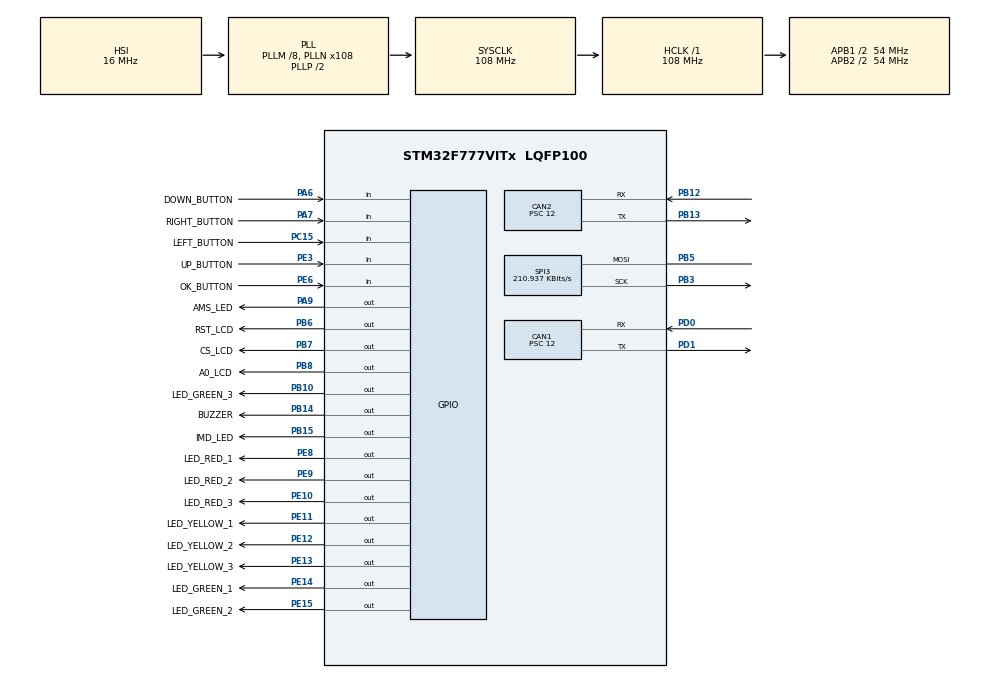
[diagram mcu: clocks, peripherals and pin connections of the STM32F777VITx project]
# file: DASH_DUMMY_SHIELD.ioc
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CAN1.BS1=CAN_BS1_6TQ
CAN1.BS2=CAN_BS2_2TQ
CAN1.CalculateBaudRate=500000
CAN1.CalculateTimeBit=2000
CAN1.CalculateTimeQuantum=222.22222222222223
CAN1.Prescaler=12
CAN2.BS1=CAN_BS1_6TQ
CAN2.BS2=CAN_BS2_2TQ
CAN2.CalculateBaudRate=500000
CAN2.CalculateTimeBit=2000
CAN2.CalculateTimeQuantum=222.22222222222223
CAN2.Prescaler=12
CORTEX_M7.default_mode_Activation=1
Mcu.Family=STM32F7
Mcu.Name=STM32F777VITx
Mcu.Package=LQFP100
NVIC.CAN1_RX0_IRQn=true\:5\:0\:true\:false\:true\:true\:true\:true
NVIC.CAN1_RX1_IRQn=true\:5\:0\:true\:false\:true\:true\:true\:true
NVIC.CAN1_SCE_IRQn=true\:0\:0\:false\:false\:true\:true\:true\:true
NVIC.CAN1_TX_IRQn=true\:1\:0\:true\:false\:true\:true\:true\:true
NVIC.CAN2_RX0_IRQn=true\:4\:0\:true\:false\:true\:true\:true\:true
NVIC.CAN2_RX1_IRQn=true\:4\:0\:true\:false\:true\:true\:true\:true
NVIC.CAN2_SCE_IRQn=true\:0\:0\:false\:false\:true\:true\:true\:true
NVIC.CAN2_TX_IRQn=true\:0\:0\:false\:false\:true\:true\:true\:true
NVIC.PriorityGroup=NVIC_PRIORITYGROUP_4
NVIC.TIM1_TRG_COM_TIM11_IRQn=true\:1\:0\:true\:false\:true\:true\:true\:true
NVIC.TIM8_TRG_COM_TIM14_IRQn=true\:3\:0\:true\:false\:true\:true\:true\:true
NVIC.TIM8_UP_TIM13_IRQn=true\:2\:0\:true\:false\:true\:true\:true\:true
PA6.GPIO_Label=DOWN_BUTTON
PA6.GPIO_PuPd=GPIO_NOPULL
PA6.Signal=GPIO_Input
PA7.GPIO_Label=RIGHT_BUTTON
PA7.GPIO_PuPd=GPIO_NOPULL
PA7.Signal=GPIO_Input
PA9.GPIO_Label=AMS_LED
PA9.Signal=GPIO_Output
PB10.GPIO_Label=LED_GREEN_3
PB10.Signal=GPIO_Output
PB12.Mode=CAN_Activate
PB12.Signal=CAN2_RX
PB13.Mode=CAN_Activate
PB13.Signal=CAN2_TX
PB14.GPIO_Label=BUZZER
PB14.Signal=GPIO_Output
PB15.GPIO_Label=IMD_LED
PB15.Signal=GPIO_Output
PB3.Mode=Simplex_Bidirectional_Master
PB3.Signal=SPI3_SCK
PB5.Mode=Simplex_Bidirectional_Master
PB5.Signal=SPI3_MOSI
PB6.GPIO_Label=RST_LCD
PB6.GPIO_PuPd=GPIO_PULLUP
PB6.Signal=GPIO_Output
PB7.GPIO_Label=CS_LCD
PB7.GPIO_PuPd=GPIO_PULLUP
PB7.Signal=GPIO_Output
PB8.GPIO_Label=A0_LCD
PB8.GPIO_PuPd=GPIO_PULLUP
PB8.Signal=GPIO_Output
PC15/OSC32_OUT.GPIO_Label=LEFT_BUTTON
PC15/OSC32_OUT.GPIO_PuPd=GPIO_NOPULL
PC15/OSC32_OUT.Signal=GPIO_Input
PD0.Mode=CAN_Activate
PD0.Signal=CAN1_RX
PD1.Mode=CAN_Activate
PD1.Signal=CAN1_TX
PE10.GPIO_Label=LED_RED_3
PE10.Signal=GPIO_Output
PE11.GPIO_Label=LED_YELLOW_1
PE11.Signal=GPIO_Output
PE12.GPIO_Label=LED_YELLOW_2
PE12.Signal=GPIO_Output
PE13.GPIO_Label=LED_YELLOW_3
PE13.Signal=GPIO_Output
PE14.GPIO_Label=LED_GREEN_1
PE14.Signal=GPIO_Output
PE15.GPIO_Label=LED_GREEN_2
PE15.Signal=GPIO_Output
PE3.GPIO_Label=UP_BUTTON
PE3.GPIO_PuPd=GPIO_NOPULL
PE3.Signal=GPIO_Input
PE6.GPIO_Label=OK_BUTTON
PE6.GPIO_PuPd=GPIO_NOPULL
PE6.Signal=GPIO_Input
PE8.GPIO_Label=LED_RED_1
PE8.Signal=GPIO_Output
PE9.GPIO_Label=LED_RED_2
PE9.Signal=GPIO_Output
ProjectManager.HeapSize=0x200
ProjectManager.StackSize=0x400
ProjectManager.TargetToolchain=STM32CubeIDE
RCC.AHBFreq_Value=108000000
RCC.APB1CLKDivider=RCC_HCLK_DIV2
RCC.APB1Freq_Value=54000000
RCC.APB1TimFreq_Value=108000000
RCC.APB2CLKDivider=RCC_HCLK_DIV2
RCC.APB2Freq_Value=54000000
RCC.APB2TimFreq_Value=108000000
RCC.CortexFreq_Value=108000000
RCC.HCLKFreq_Value=108000000
RCC.HSE_VALUE=25000000
RCC.HSI_VALUE=16000000
RCC.LSE_VALUE=32768
RCC.PLLM=8
RCC.PLLN=108
RCC.SYSCLKFreq_VALUE=108000000
RCC.SYSCLKSource=RCC_SYSCLKSOURCE_PLLCLK
RCC.USBFreq_Value=108000000
RCC.VCOOutputFreq_Value=216000000
SPI3.BaudRatePrescaler=SPI_BAUDRATEPRESCALER_256
SPI3.CalculateBaudRate=210.937 KBits/s
SPI3.DataSize=SPI_DATASIZE_8BIT
SPI3.Direction=SPI_DIRECTION_1LINE
SPI3.Mode=SPI_MODE_MASTER
SPI3.VirtualType=VM_MASTER
TIM11.Period=1000
TIM11.Prescaler=108
TIM13.Period=10000
TIM13.Prescaler=108-1
TIM14.Period=4000
TIM14.Prescaler=108-1
VP_TIM11_VS_ClockSourceINT.Mode=Enable_Timer
VP_TIM13_VS_ClockSourceINT.Mode=Enable_Timer
VP_TIM14_VS_ClockSourceINT.Mode=Enable_Timer
board=custom

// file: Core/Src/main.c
/* USER CODE BEGIN Header */
/**
  ******************************************************************************
  * @file           : main.c
  * @brief          : Main program body
  ****************************  * @attention
  ** C
**************************************************
  opyright (c) 2024 STMicroelectronics.
  * All rights reserved.
  *
  * This software is licensed under terms that can be found in the LICENSE file
  * in the root directory of this software component.
  * If no LICENSE file comes with this software, it is provided AS-IS.
  *
  ******************************************************************************
  */
/* USER CODE END Header */
#include "main.h"

/* USER CODE BEGIN Includes */
#include "graphics.h"
#include "statemachine.h"
#include "can.h"
#include "glcd_etr.h"
#include "init.h"
#include "car_state.h"

/* USER CODE END Includes */

CAN_HandleTypeDef hcan1;
CAN_HandleTypeDef hcan2;

SPI_HandleTypeDef hspi3;

TIM_HandleTypeDef htim11;
TIM_HandleTypeDef htim13;
TIM_HandleTypeDef htim14;

/* USER CODE BEGIN PV */

	/* CAN  -----------------------------------------------------------------*/

	CAN_TxHeaderTypeDef TxHeader;
	CAN_RxHeaderTypeDef RxHeader;
	CAN_FilterTypeDef can1filter;
	CAN_FilterTypeDef can2filter;

	uint32_t RxMailbox = 0;
	uint8_t TxData[30];
	uint8_t RxData[30];

	/* CAR STATE -------------------------------------------------------------*/

	uint8_t Car__State;	//0 -> Init; 3 -> PrechargeRequest; 6 -> Precharge In Process; 9 -> Precharge Done; 12 -> Racing Menu; 14 -> Inverters Ready; 15 -> Racing Mode; 21 -> Errors
	uint8_t Racing_Mode;
	uint8_t Precharge_Request;

	/* DASH DATA -------------------------------------------------------------*/

	uint16_t PrechargeVoltage;
	uint8_t PrechargePercentage;
	uint8_t CarSpeed;
	uint8_t SoC_Average;

	/* DEBUG -------------------------------------------------------------*/

	uint16_t counter = 0;

	/* DISCONNECTIONS  -------------------------------------------------------*/

	uint8_t BMS_Disconnect;
	uint8_t Dash_Disconect;
	uint8_t Front_Disconenct;
	uint8_t Ellipse_Disconect;
	uint8_t Rear_Disconnect;
	uint8_t APPS1_Disconect;
	uint8_t APPS2_Disconnect;
	uint8_t BrakePedal_Disconnect;
	uint8_t SteeringSensor_Disconnect;
	uint8_t SuspRR_Disconnect;
	uint8_t SuspRL_Disconnect;
	uint8_t SuspFR_Disconnect;
	uint8_t SuspFL_Disconnect;
	uint8_t Pitot_Disconnect;

	/* SHUTDOWN  -------------------------------------------------------------*/

	uint8_t END_SD;
	uint8_t BMS_SD = 1;
	uint8_t IMD_SD = 1;
	uint32_t BMS_SD_SC;
	uint32_t IMD_SD_SC;
	uint8_t Shutdown_Setas;
	uint8_t Shutdown_BSPD_Inertia;
	uint8_t Shutdown_SC_BOTS;
	uint8_t Shutdown_TSMS_TSMP;
	uint8_t Shutdown_RightTS;
	uint8_t Shutdown_LeftTS;
	uint8_t Shutdown_HVBox;
	uint8_t Shutdown_HVD;

	uint8_t AMS_LED = 0;
	uint8_t IMD_LED = 0;

	/* SYNCRONISM  -----------------------------------------------------------*/

	uint8_t syncronism1;
	uint8_t syncronism2;
	uint8_t KeepAlive;

	/* TEMPERATURAS  ---------------------------------------------------------*/

	uint16_t Lowest_CellTemperature;
	uint16_t Highest_CellTemperature;
	uint16_t Average_CellTemperature;

	/* VDC  ------------------------------------------------------------------*/

	uint8_t VDC_Params;

	/* VOLTAGES  -------------------------------------------------------------*/

	uint16_t Lowest_CellVolt;
	uint16_t Highest_CellVolt;
	uint32_t Accu_Volt;

	/* COOLING  --------------------------------------------------------------*/

	uint8_t Refri_Accumulator; // 0-> ON - 1-> OFF - 2->FULL
	uint8_t Refri_Inverters;
	uint8_t Refri_Motors;

	/* ENABLE TO DRIVE   -----------------------------------------------------*/

	uint8_t Enable_Drive;
	uint8_t RTD;

	/* CONTROL  --------------------------------------------------------------*/

	uint8_t msg_can1;
	uint8_t msg_can2;
	uint8_t msg;

	/* SCREENS  --------------------------------------------------------------*/

	uint8_t CS3_Screen = 0; //0 for Default 1 for refri
	uint8_t RefriSelected=0;// 0 accu 1 inverters 2 motors

	/* SCREENS  --------------------------------------------------------------*/
	uint8_t APPS1;
	uint8_t APPS2;
	uint8_t Break_Value;
	uint8_t Steering_sensor_value;
	uint8_t TV_MODE;

/* USER CODE END PV */

void SystemClock_Config(void);
static void MPU_Config(void);
static void MX_GPIO_Init(void);
static void MX_CAN1_Init(void);
static void MX_CAN2_Init(void);
static void MX_SPI3_Init(void);
static void MX_TIM14_Init(void);
static void MX_TIM13_Init(void);
static void MX_TIM11_Init(void);

int main(void)
{

  /* MPU Configuration--------------------------------------------------------*/
  MPU_Config();

  /* MCU Configuration--------------------------------------------------------*/

  /* Reset of all peripherals, Initializes the Flash interface and the Systick. */
  HAL_Init();

  /* Configure the system clock */
  SystemClock_Config();

  /* Initialize all configured peripherals */
  MX_GPIO_Init();
  MX_CAN1_Init();
  MX_CAN2_Init();
  MX_SPI3_Init();
  MX_TIM14_Init();
  MX_TIM13_Init();
  MX_TIM11_Init();
  /* USER CODE BEGIN 2 */

  filtercanconfig_can1(&can1filter);
  filtercanconfig_can2(&can2filter);
  CAN1_CONFIG_INIT(can1filter, hcan1);
  CAN2_CONFIG_INIT(can2filter, hcan2);

  glcd_etr_init(hspi3);
  glcd_etr_blank(hspi3);
  logo_ETR();
  glcd_etr_refresh(hspi3);

  NORMATIVE_INIT();
  VARIABLE_RESET(&Enable_Drive, &Racing_Mode, &Precharge_Request, &KeepAlive, &Refri_Inverters, &Refri_Accumulator, &Refri_Motors, &msg_can1, &msg_can2, &Car__State, &Precharge_Request);

  if(HAL_TIM_Base_Start_IT(&htim13) != HAL_OK) Error_Handler();
  if(HAL_TIM_Base_Start_IT(&htim14) != HAL_OK) Error_Handler();
  if(HAL_TIM_Base_Start_IT(&htim11) != HAL_OK) Error_Handler();

  glcd_etr_blank(hspi3);
  glcd_etr_refresh(hspi3);

  /* USER CODE END 2 */

  /* Infinite loop */
  /* USER CODE BEGIN WHILE */
	  while (1){
			CAR_STATE_FUNCTION(hspi3, Car__State, PrechargePercentage, &Precharge_Request, &Racing_Mode, &RTD, &Enable_Drive,
					SoC_Average, CarSpeed, Lowest_CellVolt,Highest_CellTemperature,Average_CellTemperature, &Refri_Accumulator, &Refri_Inverters,
					&Refri_Motors, END_SD, BMS_SD, IMD_SD, Shutdown_Setas, Shutdown_BSPD_Inertia, Shutdown_SC_BOTS, Shutdown_TSMS_TSMP,
					Shutdown_RightTS, Shutdown_LeftTS, Shutdown_HVBox, Shutdown_HVD,  BMS_Disconnect,  Dash_Disconect,  Front_Disconenct,
					 Ellipse_Disconect,  Rear_Disconnect,  APPS1_Disconect,  APPS2_Disconnect,  BrakePedal_Disconnect,  SteeringSensor_Disconnect,
					 SuspRR_Disconnect,  SuspRL_Disconnect,  SuspFR_Disconnect,  SuspFL_Disconnect,  Pitot_Disconnect, APPS1, TV_MODE);
	  }
    /* USER CODE END WHILE */

}

void SystemClock_Config(void)
{
  RCC_OscInitTypeDef RCC_OscInitStruct = {0};
  RCC_ClkInitTypeDef RCC_ClkInitStruct = {0};

  /** Configure the main internal regulator output voltage
  */
  __HAL_RCC_PWR_CLK_ENABLE();
  __HAL_PWR_VOLTAGESCALING_CONFIG(PWR_REGULATOR_VOLTAGE_SCALE3);

  /** Initializes the RCC Oscillators according to the specified parameters
  * in the RCC_OscInitTypeDef structure.
  */
  RCC_OscInitStruct.OscillatorType = RCC_OSCILLATORTYPE_HSI;
  RCC_OscInitStruct.HSIState = RCC_HSI_ON;
  RCC_OscInitStruct.HSICalibrationValue = RCC_HSICALIBRATION_DEFAULT;
  RCC_OscInitStruct.PLL.PLLState = RCC_PLL_ON;
  RCC_OscInitStruct.PLL.PLLSource = RCC_PLLSOURCE_HSI;
  RCC_OscInitStruct.PLL.PLLM = 8;
  RCC_OscInitStruct.PLL.PLLN = 108;
  RCC_OscInitStruct.PLL.PLLP = RCC_PLLP_DIV2;
  RCC_OscInitStruct.PLL.PLLQ = 2;
  RCC_OscInitStruct.PLL.PLLR = 2;
  if (HAL_RCC_OscConfig(&RCC_OscInitStruct) != HAL_OK)
  {
    Error_Handler();
  }

  /** Activate the Over-Drive mode
  */
  if (HAL_PWREx_EnableOverDrive() != HAL_OK)
  {
    Error_Handler();
  }

  /** Initializes the CPU, AHB and APB buses clocks
  */
  RCC_ClkInitStruct.ClockType = RCC_CLOCKTYPE_HCLK|RCC_CLOCKTYPE_SYSCLK
                              |RCC_CLOCKTYPE_PCLK1|RCC_CLOCKTYPE_PCLK2;
  RCC_ClkInitStruct.SYSCLKSource = RCC_SYSCLKSOURCE_PLLCLK;
  RCC_ClkInitStruct.AHBCLKDivider = RCC_SYSCLK_DIV1;
  RCC_ClkInitStruct.APB1CLKDivider = RCC_HCLK_DIV2;
  RCC_ClkInitStruct.APB2CLKDivider = RCC_HCLK_DIV2;

  if (HAL_RCC_ClockConfig(&RCC_ClkInitStruct, FLASH_LATENCY_3) != HAL_OK)
  {
    Error_Handler();
  }
}

static void MX_CAN1_Init(void)
{

  hcan1.Instance = CAN1;
  hcan1.Init.Prescaler = 12;
  hcan1.Init.Mode = CAN_MODE_NORMAL;
  hcan1.Init.SyncJumpWidth = CAN_SJW_1TQ;
  hcan1.Init.TimeSeg1 = CAN_BS1_6TQ;
  hcan1.Init.TimeSeg2 = CAN_BS2_2TQ;
  hcan1.Init.TimeTriggeredMode = DISABLE;
  hcan1.Init.AutoBusOff = DISABLE;
  hcan1.Init.AutoWakeUp = DISABLE;
  hcan1.Init.AutoRetransmission = DISABLE;
  hcan1.Init.ReceiveFifoLocked = DISABLE;
  hcan1.Init.TransmitFifoPriority = DISABLE;
  if (HAL_CAN_Init(&hcan1) != HAL_OK)
  {
    Error_Handler();
  }

}

static void MX_CAN2_Init(void)
{

  hcan2.Instance = CAN2;
  hcan2.Init.Prescaler = 12;
  hcan2.Init.Mode = CAN_MODE_NORMAL;
  hcan2.Init.SyncJumpWidth = CAN_SJW_1TQ;
  hcan2.Init.TimeSeg1 = CAN_BS1_6TQ;
  hcan2.Init.TimeSeg2 = CAN_BS2_2TQ;
  hcan2.Init.TimeTriggeredMode = DISABLE;
  hcan2.Init.AutoBusOff = DISABLE;
  hcan2.Init.AutoWakeUp = DISABLE;
  hcan2.Init.AutoRetransmission = DISABLE;
  hcan2.Init.ReceiveFifoLocked = DISABLE;
  hcan2.Init.TransmitFifoPriority = DISABLE;
  if (HAL_CAN_Init(&hcan2) != HAL_OK)
  {
    Error_Handler();
  }

}

static void MX_SPI3_Init(void)
{

  /* SPI3 parameter configuration*/
  hspi3.Instance = SPI3;
  hspi3.Init.Mode = SPI_MODE_MASTER;
  hspi3.Init.Direction = SPI_DIRECTION_1LINE;
  hspi3.Init.DataSize = SPI_DATASIZE_8BIT;
  hspi3.Init.CLKPolarity = SPI_POLARITY_LOW;
  hspi3.Init.CLKPhase = SPI_PHASE_1EDGE;
  hspi3.Init.NSS = SPI_NSS_SOFT;
  hspi3.Init.BaudRatePrescaler = SPI_BAUDRATEPRESCALER_256;
  hspi3.Init.FirstBit = SPI_FIRSTBIT_MSB;
  hspi3.Init.TIMode = SPI_TIMODE_DISABLE;
  hspi3.Init.CRCCalculation = SPI_CRCCALCULATION_DISABLE;
  hspi3.Init.CRCPolynomial = 7;
  hspi3.Init.CRCLength = SPI_CRC_LENGTH_DATASIZE;
  hspi3.Init.NSSPMode = SPI_NSS_PULSE_ENABLE;
  if (HAL_SPI_Init(&hspi3) != HAL_OK)
  {
    Error_Handler();
  }

}

static void MX_TIM11_Init(void)
{

  htim11.Instance = TIM11;
  htim11.Init.Prescaler = 108;
  htim11.Init.CounterMode = TIM_COUNTERMODE_UP;
  htim11.Init.Period = 1000;
  htim11.Init.ClockDivision = TIM_CLOCKDIVISION_DIV1;
  htim11.Init.AutoReloadPreload = TIM_AUTORELOAD_PRELOAD_DISABLE;
  if (HAL_TIM_Base_Init(&htim11) != HAL_OK)
  {
    Error_Handler();
  }

}

static void MX_TIM13_Init(void)
{

  htim13.Instance = TIM13;
  htim13.Init.Prescaler = 108-1;
  htim13.Init.CounterMode = TIM_COUNTERMODE_UP;
  htim13.Init.Period = 10000;
  htim13.Init.ClockDivision = TIM_CLOCKDIVISION_DIV1;
  htim13.Init.AutoReloadPreload = TIM_AUTORELOAD_PRELOAD_DISABLE;
  if (HAL_TIM_Base_Init(&htim13) != HAL_OK)
  {
    Error_Handler();
  }

}

static void MX_TIM14_Init(void)
{

  htim14.Instance = TIM14;
  htim14.Init.Prescaler = 108-1;
  htim14.Init.CounterMode = TIM_COUNTERMODE_UP;
  htim14.Init.Period = 4000;
  htim14.Init.ClockDivision = TIM_CLOCKDIVISION_DIV1;
  htim14.Init.AutoReloadPreload = TIM_AUTORELOAD_PRELOAD_DISABLE;
  if (HAL_TIM_Base_Init(&htim14) != HAL_OK)
  {
    Error_Handler();
  }

}

static void MX_GPIO_Init(void)
{
  GPIO_InitTypeDef GPIO_InitStruct = {0};

  /* GPIO Ports Clock Enable */
  __HAL_RCC_GPIOE_CLK_ENABLE();
  __HAL_RCC_GPIOC_CLK_ENABLE();
  __HAL_RCC_GPIOA_CLK_ENABLE();
  __HAL_RCC_GPIOB_CLK_ENABLE();
  __HAL_RCC_GPIOD_CLK_ENABLE();

  /*Configure GPIO pin Output Level */
  HAL_GPIO_WritePin(GPIOE, LED_RED_1_Pin|LED_RED_2_Pin|LED_RED_3_Pin|LED_YELLOW_1_Pin
                          |LED_YELLOW_2_Pin|LED_YELLOW_3_Pin|LED_GREEN_1_Pin|LED_GREEN_2_Pin, GPIO_PIN_RESET);

  /*Configure GPIO pin Output Level */
  HAL_GPIO_WritePin(GPIOB, LED_GREEN_3_Pin|BUZZER_Pin|IMD_LED_Pin|RST_LCD_Pin
                          |CS_LCD_Pin|A0_LCD_Pin, GPIO_PIN_RESET);

  /*Configure GPIO pin Output Level */
  HAL_GPIO_WritePin(AMS_LED_GPIO_Port, AMS_LED_Pin, GPIO_PIN_RESET);

  /*Configure GPIO pins : UP_BUTTON_Pin OK_BUTTON_Pin */
  GPIO_InitStruct.Pin = UP_BUTTON_Pin|OK_BUTTON_Pin;
  GPIO_InitStruct.Mode = GPIO_MODE_INPUT;
  GPIO_InitStruct.Pull = GPIO_NOPULL;
  HAL_GPIO_Init(GPIOE, &GPIO_InitStruct);

  /*Configure GPIO pin : LEFT_BUTTON_Pin */
  GPIO_InitStruct.Pin = LEFT_BUTTON_Pin;
  GPIO_InitStruct.Mode = GPIO_MODE_INPUT;
  GPIO_InitStruct.Pull = GPIO_NOPULL;
  HAL_GPIO_Init(LEFT_BUTTON_GPIO_Port, &GPIO_InitStruct);

  /*Configure GPIO pins : DOWN_BUTTON_Pin RIGHT_BUTTON_Pin */
  GPIO_InitStruct.Pin = DOWN_BUTTON_Pin|RIGHT_BUTTON_Pin;
  GPIO_InitStruct.Mode = GPIO_MODE_INPUT;
  GPIO_InitStruct.Pull = GPIO_NOPULL;
  HAL_GPIO_Init(GPIOA, &GPIO_InitStruct);

  /*Configure GPIO pins : LED_RED_1_Pin LED_RED_2_Pin LED_RED_3_Pin LED_YELLOW_1_Pin
                           LED_YELLOW_2_Pin LED_YELLOW_3_Pin LED_GREEN_1_Pin LED_GREEN_2_Pin */
  GPIO_InitStruct.Pin = LED_RED_1_Pin|LED_RED_2_Pin|LED_RED_3_Pin|LED_YELLOW_1_Pin
                          |LED_YELLOW_2_Pin|LED_YELLOW_3_Pin|LED_GREEN_1_Pin|LED_GREEN_2_Pin;
  GPIO_InitStruct.Mode = GPIO_MODE_OUTPUT_PP;
  GPIO_InitStruct.Pull = GPIO_NOPULL;
  GPIO_InitStruct.Speed = GPIO_SPEED_FREQ_LOW;
  HAL_GPIO_Init(GPIOE, &GPIO_InitStruct);

  /*Configure GPIO pins : LED_GREEN_3_Pin BUZZER_Pin IMD_LED_Pin */
  GPIO_InitStruct.Pin = LED_GREEN_3_Pin|BUZZER_Pin|IMD_LED_Pin;
  GPIO_InitStruct.Mode = GPIO_MODE_OUTPUT_PP;
  GPIO_InitStruct.Pull = GPIO_NOPULL;
  GPIO_InitStruct.Speed = GPIO_SPEED_FREQ_LOW;
  HAL_GPIO_Init(GPIOB, &GPIO_InitStruct);

  /*Configure GPIO pin : AMS_LED_Pin */
  GPIO_InitStruct.Pin = AMS_LED_Pin;
  GPIO_InitStruct.Mode = GPIO_MODE_OUTPUT_PP;
  GPIO_InitStruct.Pull = GPIO_NOPULL;
  GPIO_InitStruct.Speed = GPIO_SPEED_FREQ_LOW;
  HAL_GPIO_Init(AMS_LED_GPIO_Port, &GPIO_InitStruct);

  /*Configure GPIO pins : RST_LCD_Pin CS_LCD_Pin A0_LCD_Pin */
  GPIO_InitStruct.Pin = RST_LCD_Pin|CS_LCD_Pin|A0_LCD_Pin;
  GPIO_InitStruct.Mode = GPIO_MODE_OUTPUT_PP;
  GPIO_InitStruct.Pull = GPIO_PULLUP;
  GPIO_InitStruct.Speed = GPIO_SPEED_FREQ_LOW;
  HAL_GPIO_Init(GPIOB, &GPIO_InitStruct);

}

/* USER CODE BEGIN 4 */

void HAL_CAN_RxFifo0MsgPendingCallback(CAN_HandleTypeDef *hcan1) {

	rx_sorter_can1(*hcan1, RxMailbox, RxHeader, RxData, &msg_can1, &Car__State, &PrechargeVoltage, &PrechargePercentage,
			&CarSpeed, &SoC_Average, &END_SD, &BMS_SD, &IMD_SD, &AMS_LED, &IMD_LED, &syncronism1, &Lowest_CellTemperature, &Highest_CellTemperature,
			&Average_CellTemperature, &VDC_Params, &Lowest_CellVolt, &Highest_CellVolt, &Accu_Volt, &TV_MODE);
	if(msg == 0)msg = 1;
}

void HAL_CAN_RxFifo1MsgPendingCallback(CAN_HandleTypeDef *hcan2) {

	rx_sorter_can2(*hcan2, RxMailbox, RxHeader, RxData, &msg_can2, &SteeringSensor_Disconnect, &SuspRR_Disconnect, &SuspRL_Disconnect,
			&SuspFR_Disconnect, &SuspFL_Disconnect, &Pitot_Disconnect, &BMS_Disconnect, &Dash_Disconect, &Front_Disconenct,
			&Ellipse_Disconect, &Rear_Disconnect, &APPS1_Disconect, &APPS2_Disconnect, &BrakePedal_Disconnect, &Shutdown_Setas,
			&Shutdown_BSPD_Inertia, &Shutdown_SC_BOTS, &Shutdown_TSMS_TSMP, &Shutdown_RightTS, &Shutdown_LeftTS, &Shutdown_HVBox,
			&Shutdown_HVD, &syncronism2, &APPS1, &APPS2, &Break_Value, &Steering_sensor_value);
}

void HAL_TIM_PeriodElapsedCallback(TIM_HandleTypeDef *htim) {

	if (htim->Instance == TIM14)
	{
		switch(msg){
			case 1:
				message_cantx_Keep_Alive(hcan1, TxHeader, TxData, KeepAlive);
				KeepAlive++;
				msg = 2;
			break;
			case 2:
				message_cantx_EnableDrive(hcan1,  TxHeader, TxData, Enable_Drive);
				Enable_Drive = 0;
				msg = 3;
			break;
			case 3:
				message_cantx_PrechargeRequest(hcan1, TxHeader, TxData, Precharge_Request);
				msg = 4;
			break;
			case 4:
				message_cantx_Mode(hcan1, TxHeader, TxData, Racing_Mode);
				msg = 5;
			break;
			case 5:
				message_cantx_Cooling(hcan2, TxHeader, TxData, Refri_Accumulator, Refri_Inverters, Refri_Motors);
				msg = 0;
			break;
		}
			BMS_IMD_ERROR(AMS_LED, IMD_LED, &BMS_SD_SC, &IMD_SD_SC);

			if(BMS_Disconnect==1){
				HAL_GPIO_WritePin(AMS_LED_GPIO_Port, AMS_LED_Pin, 1);
				HAL_GPIO_WritePin(IMD_LED_GPIO_Port, IMD_LED_Pin, 1);
			}
			if(BMS_Disconnect==0 && AMS_LED ==1){
				HAL_GPIO_WritePin(AMS_LED_GPIO_Port, AMS_LED_Pin, 0);

			}
			if(BMS_Disconnect==0 && IMD_LED ==1){
				HAL_GPIO_WritePin(IMD_LED_GPIO_Port, IMD_LED_Pin, 0);

		}
	}

	}
/* USER CODE END 4 */

 /* MPU Configuration */

void MPU_Config(void)
{
  MPU_Region_InitTypeDef MPU_InitStruct = {0};

  /* Disables the MPU */
  HAL_MPU_Disable();

  /** Initializes and configures the Region and the memory to be protected
  */
  MPU_InitStruct.Enable = MPU_REGION_ENABLE;
  MPU_InitStruct.Number = MPU_REGION_NUMBER0;
  MPU_InitStruct.BaseAddress = 0x0;
  MPU_InitStruct.Size = MPU_REGION_SIZE_4GB;
  MPU_InitStruct.SubRegionDisable = 0x87;
  MPU_InitStruct.TypeExtField = MPU_TEX_LEVEL0;
  MPU_InitStruct.AccessPermission = MPU_REGION_NO_ACCESS;
  MPU_InitStruct.DisableExec = MPU_INSTRUCTION_ACCESS_DISABLE;
  MPU_InitStruct.IsShareable = MPU_ACCESS_SHAREABLE;
  MPU_InitStruct.IsCacheable = MPU_ACCESS_NOT_CACHEABLE;
  MPU_InitStruct.IsBufferable = MPU_ACCESS_NOT_BUFFERABLE;

  HAL_MPU_ConfigRegion(&MPU_InitStruct);
  /* Enables the MPU */
  HAL_MPU_Enable(MPU_PRIVILEGED_DEFAULT);

}

void Error_Handler(void)
{
  __disable_irq();
  while (1)
  {
  }
}
